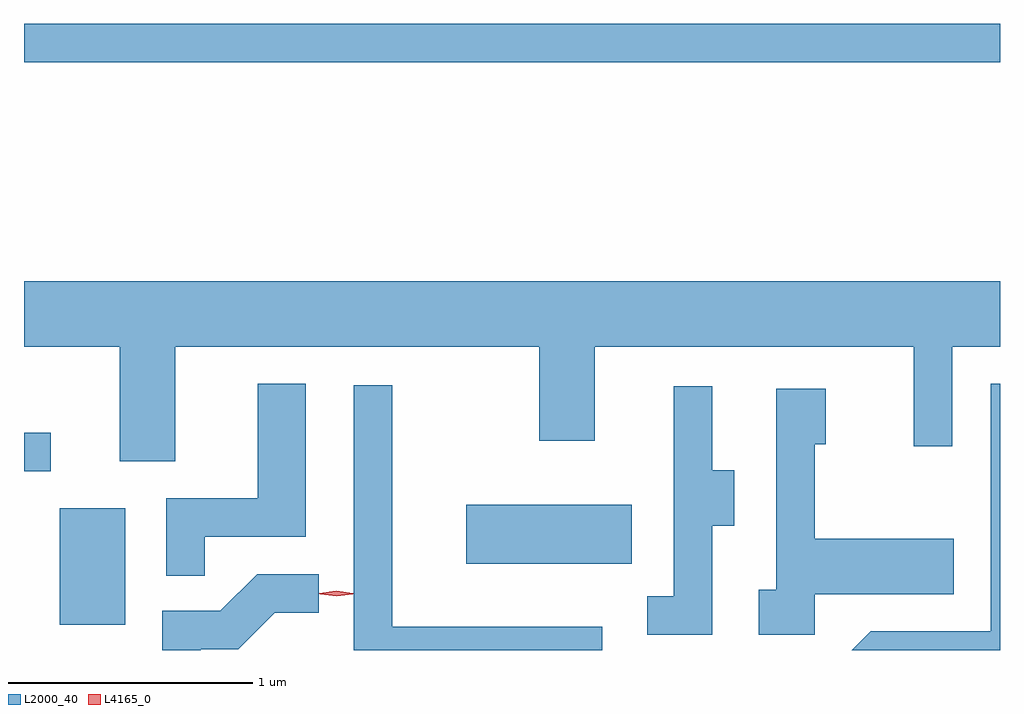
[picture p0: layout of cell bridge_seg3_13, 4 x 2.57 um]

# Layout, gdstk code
import gdstk
lib = gdstk.Library(unit=1e-6, precision=1e-09)
def R(c, l, rs):  # rectangles x0, y0, x1, y1
    for r in rs: c.add(gdstk.rectangle(r[:2], r[2:], *l))
def P(c, l, *ps):  # polygons
    for p in ps: c.add(gdstk.Polygon(p, *l))
L2000_40 = (2000, 40)
L4165_0 = (4165, 0)

bridge_seg3_13 = lib.new_cell('bridge_seg3_13')
R(bridge_seg3_13, L2000_40, [(1569.056,1115.996,1569.324,1116.474), (1570.721,1116.246,1571.399,1116.489), (1568.909,1116.626,1569.018,1116.784), (1568.909,1118.301,1572.909,1118.459)])
P(bridge_seg3_13, L2000_40, [(1569.529,1117.136),(1571.021,1117.136),(1571.021,1116.751),(1571.249,1116.751),(1571.249,1117.136),(1572.556,1117.136),(1572.556,1116.728),(1572.714,1116.728),(1572.714,1117.136),(1572.909,1117.136),(1572.909,1117.404),(1568.909,1117.404),(1568.909,1117.136),(1569.301,1117.136),(1569.301,1116.666),(1569.529,1116.666)],
  [(1569.649,1116.356),(1570.064,1116.356),(1570.064,1116.984),(1569.866,1116.984),(1569.866,1116.514),(1569.491,1116.514),(1569.491,1116.198),(1569.649,1116.198)],
  [(1572.909,1116.984),(1572.871,1116.984),(1572.871,1115.969),(1572.379,1115.969),(1572.302,1115.892),(1572.909,1115.892)],
  [(1571.279,1115.989),(1570.419,1115.989),(1570.419,1116.978),(1570.261,1116.978),(1570.261,1115.892),(1571.279,1115.892)],
  [(1571.729,1116.401),(1571.819,1116.401),(1571.819,1116.629),(1571.729,1116.629),(1571.729,1116.973),(1571.571,1116.973),(1571.571,1116.114),(1571.463,1116.114),(1571.463,1115.956),(1571.729,1115.956)],
  [(1572.149,1116.121),(1572.719,1116.121),(1572.719,1116.349),(1572.149,1116.349),(1572.149,1116.736),(1572.194,1116.736),(1572.194,1116.964),(1571.991,1116.964),(1571.991,1116.139),(1571.921,1116.139),(1571.921,1115.956),(1572.149,1115.956)],
  [(1569.634,1115.896),(1569.787,1115.896),(1569.937,1116.046),(1570.118,1116.046),(1570.118,1116.204),(1569.864,1116.204),(1569.714,1116.054),(1569.476,1116.054),(1569.476,1115.892),(1569.634,1115.892)])
P(bridge_seg3_13, L4165_0, [(1570.19,1116.113),(1570.123,1116.122),(1570.123,1116.123),(1570.123,1116.123),(1570.19,1116.133),(1570.256,1116.123),(1570.256,1116.123),(1570.256,1116.122)],
  [(1570.189,1116.115),(1570.12,1116.124),(1570.12,1116.125),(1570.12,1116.126),(1570.189,1116.135),(1570.258,1116.126),(1570.259,1116.125),(1570.258,1116.124)])

lib.write_gds('bridge_seg3_13.gds')
